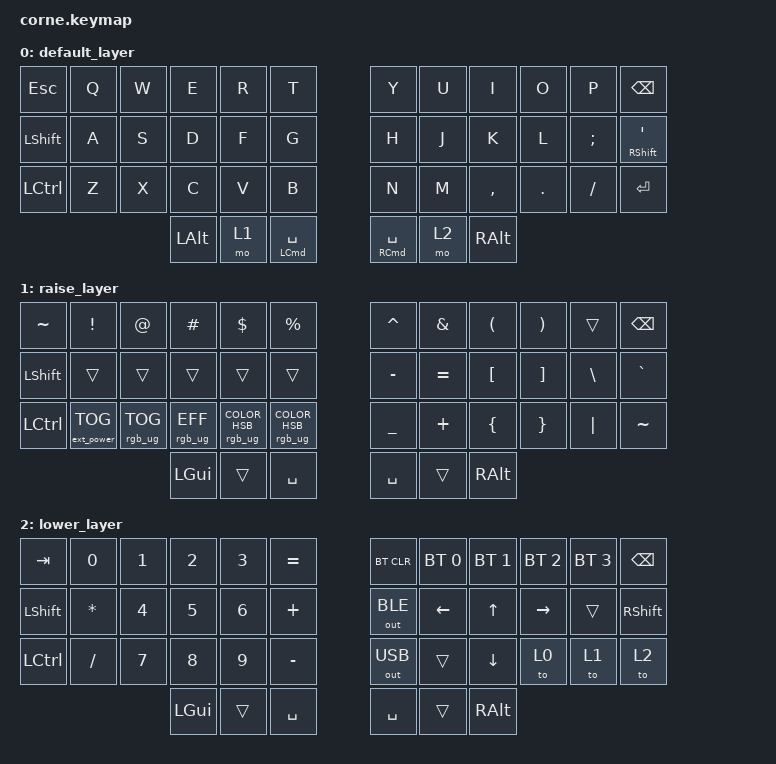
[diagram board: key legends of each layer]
/*
 * Copyright (c) 2020 The ZMK Contributors
 *
 * SPDX-License-Identifier: MIT
 */

#include <behaviors.dtsi>
#include <dt-bindings/zmk/bt.h>
#include <dt-bindings/zmk/ext_power.h>
#include <dt-bindings/zmk/keys.h>
#include <dt-bindings/zmk/outputs.h>
#include <dt-bindings/zmk/rgb.h>

/ {
    combos {
        compatible = "zmk,combos";

        tagb {
            bindings = <&kp TAB>;
            key-positions = <1 0>;
        };

        enter1 {
            bindings = <&kp ENTER>;
            key-positions = <22 23>;
        };

        homeLayer {
            bindings = <&to 0>;
            key-positions = <37 40>;
        };
    };

    keymap {
        compatible = "zmk,keymap";

        default_layer {
            // -----------------------------------------------------------------------------------------
            // |  TAB |  Q  |  W  |  E  |  R  |  T  |   |  Y  |  U   |  I  |  O  |  P  | BSPC |
            // | CTRL |  A  |  S  |  D  |  F  |  G  |   |  H  |  J   |  K  |  L  |  ;  |  '   |
            // | SHFT |  Z  |  X  |  C  |  V  |  B  |   |  N  |  M   |  ,  |  .  |  /  | ESC  |
            //                    | GUI | LWR | SPC |   | ENT | RSE  | ALT |

            bindings = <
&kp ESCAPE        &kp Q  &kp W  &kp E         &kp R  &kp T                     &kp Y                    &kp U  &kp I      &kp O    &kp P     &kp BSPC
&kp LEFT_SHIFT    &kp A  &kp S  &kp D         &kp F  &kp G                     &kp H                    &kp J  &kp K      &kp L    &kp SEMI  &mt RIGHT_SHIFT SQT
&kp LEFT_CONTROL  &kp Z  &kp X  &kp C         &kp V  &kp B                     &kp N                    &kp M  &kp COMMA  &kp DOT  &kp FSLH  &kp ENTER
                                &kp LEFT_ALT  &mo 1  &mt LEFT_COMMAND SPACE    &mt RIGHT_COMMAND SPACE  &mo 2  &kp RALT
            >;
        };

        raise_layer {
            // -----------------------------------------------------------------------------------------
            // |  TAB |  !  |  @  |  #  |  $  |  %  |   |  ^  |  &  |  *  |  (  |  )  | BSPC |
            // | CTRL |     |     |     |     |     |   |  -  |  =  |  [  |  ]  |  \  |  `   |
            // | SHFT |     |     |     |     |     |   |  _  |  +  |  {  |  }  | "|" |  ~   |
            //                    | GUI |     | SPC |   | ENT |     | ALT |

            bindings = <
&kp TILDE         &kp EXCL           &kp AT           &kp HASH         &kp DLLR                       &kp PRCNT                          &kp CARET  &kp AMPS   &kp LEFT_PARENTHESIS  &kp RIGHT_PARENTHESIS  &trans    &kp BSPC
&kp LEFT_SHIFT    &trans             &trans           &trans           &trans                         &trans                             &kp MINUS  &kp EQUAL  &kp LBKT              &kp RBKT               &kp BSLH  &kp GRAVE
&kp LEFT_CONTROL  &ext_power EP_TOG  &rgb_ug RGB_TOG  &rgb_ug RGB_EFF  &rgb_ug RGB_COLOR_HSB(0,0,82)  &rgb_ug RGB_COLOR_HSB(0,100,50)    &kp UNDER  &kp PLUS   &kp LBRC              &kp RBRC               &kp PIPE  &kp TILDE
                                                      &kp LGUI         &trans                         &kp SPACE                          &kp SPACE  &trans     &kp RALT
            >;
        };

        lower_layer {
            // -----------------------------------------------------------------------------------------
            // |  TAB |  1  |  2  |  3  |  4  |  5  |   |  6  |  7  |  8  |  9  |  0  | BSPC |
            // | BTCLR| BT1 | BT2 | BT3 | BT4 | BT5 |   | LFT | DWN |  UP | RGT |     |      |
            // | SHFT |     |     |     |     |     |   |     |     |     |     |     |      |
            //                    | GUI |     | SPC |   | ENT |     | ALT |

            bindings = <
&kp TAB           &kp N0        &kp N1        &kp N2    &kp N3  &kp EQUAL    &bt BT_CLR    &bt BT_SEL 0    &bt BT_SEL 1    &bt BT_SEL 2     &bt BT_SEL 3  &kp BSPC
&kp LEFT_SHIFT    &kp ASTERISK  &kp NUMBER_4  &kp N5    &kp N6  &kp PLUS     &out OUT_BLE  &kp LEFT_ARROW  &kp UP          &kp RIGHT_ARROW  &trans        &kp RIGHT_SHIFT
&kp LEFT_CONTROL  &kp SLASH     &kp N7        &kp N8    &kp N9  &kp MINUS    &out OUT_USB  &trans          &kp DOWN_ARROW  &to 0            &to 1         &to 2
                                              &kp LGUI  &trans  &kp SPACE    &kp SPACE     &trans          &kp RALT
            >;
        };
    };
};
